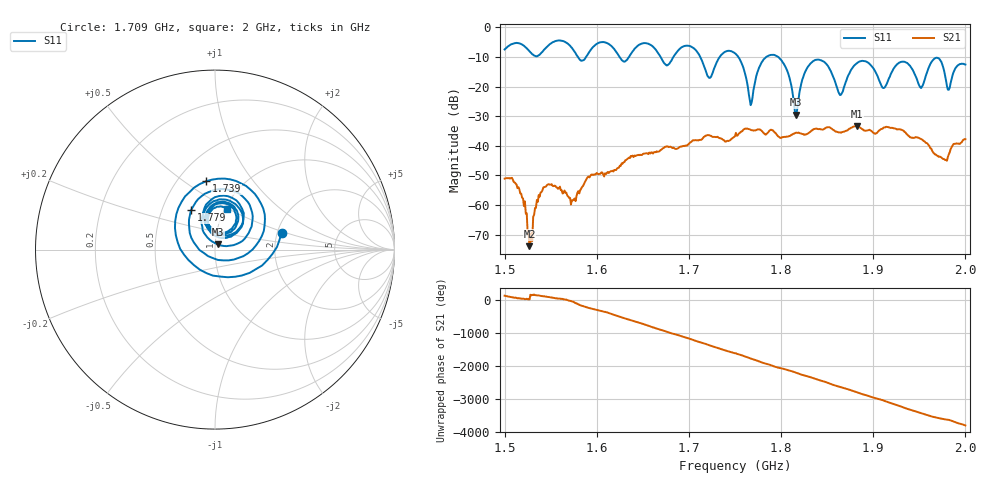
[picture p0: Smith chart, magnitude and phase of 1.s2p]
! NanoVNA-App by SYSJOINT et al v1.1.209 (+OD18)
! Date: 2026-01-21 14:22:46
! Start: 1,5GHz Stop: 2GHz Points: 501
! S-Parameter data: F S11 S21 S12 S22
# Hz S RI R 50
!  Frequency  S11_Real  S11_Imag  S21_Real  S21_Imag  S12_Real  S12_Imag  S22_Real  S22_Imag
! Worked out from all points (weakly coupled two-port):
!   501 points, 1.5 GHz to 2 GHz, reference 50 ohm
!   highest |S21| = -33.38 dB at 1.882 GHz (marker M1); lowest = -73.9 dB at 1.527 GHz (marker M2)
!   lowest |S11| = -29.5 dB at 1.816 GHz (marker M3), VSWR 1.07, Z = 51.4 + j3.09 ohm
!   |S11| at or under -10 dB: 1.712 GHz to 1.733 GHz (21.28 MHz wide, 1.23 % of centre); 1.753 GHz to 1.784 GHz (30.51 MHz wide, 1.72 % of centre); 1.797 GHz to end of sweep (the widest 3 of 6)
!   S12 and S22 are empty: the file has one direction only
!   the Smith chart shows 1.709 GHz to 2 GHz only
!   S11 on the Smith chart (normalised r, x): 1.709 GHz: 2.11, +0.46; 1.739 GHz: 0.68, +0.61; 1.779 GHz: 0.70, +0.33; 2 GHz: 1.02, +0.49
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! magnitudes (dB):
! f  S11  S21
! 1.5 GHz  -7.5  -51.1
! 1.517 GHz  -5.5  -56.1
! 1.527 GHz  -8.1  -73.9
! 1.544 GHz  -7.2  -53.9
! 1.584 GHz  -11.3  -54.0
! 1.667 GHz  -8.9  -42.0
! 1.709 GHz  -8.4  -38.1
! 1.722 GHz  -17.1  -36.4
! 1.739 GHz  -8.3  -38.5
! 1.75 GHz  -8.8  -36.8
! 1.767 GHz  -26.3  -34.6
! 1.779 GHz  -11.8  -35.0
! 1.801 GHz  -11.4  -37.1
! 1.816 GHz  -29.5  -35.6
! 1.834 GHz  -11.7  -34.7
! 1.864 GHz  -22.9  -35.4
! 1.882 GHz  -12.2  -33.4
! 1.917 GHz  -17.3  -33.8
! 1.952 GHz  -20.5  -37.7
! 1.969 GHz  -10.3  -43.3
! 1.978 GHz  -16.4  -44.8
! 2 GHz  -12.6  -37.8
